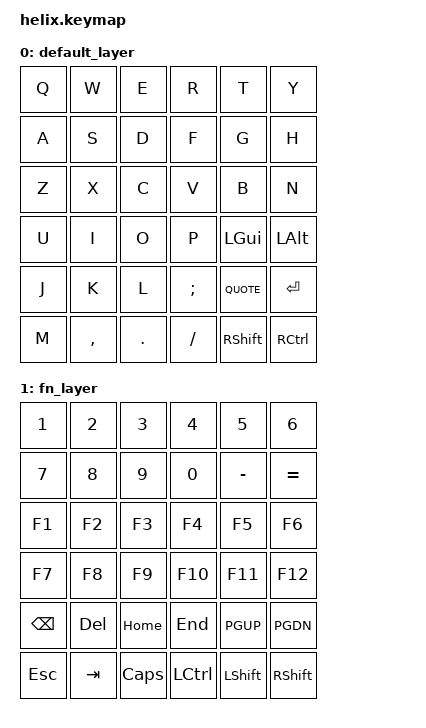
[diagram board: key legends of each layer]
/ {
    keymap {
        compatible = "zmk,keymap";

        default_layer {
            bindings = <
                /* 左手側 (helix_left.overlay の row0-2, col0-5) */
                &kp Q   &kp W   &kp E   &kp R   &kp T   &kp Y
                &kp A   &kp S   &kp D   &kp F   &kp G   &kp H
                &kp Z   &kp X   &kp C   &kp V   &kp B   &kp N

                /* 右手側 (helix_right.overlay の row0-2, col0-5) */
                &kp U   &kp I   &kp O   &kp P   &kp LGUI &kp LALT
                &kp J   &kp K   &kp L   &kp SEMI &kp QUOTE &kp ENTER
                &kp M   &kp COMMA &kp DOT &kp SLASH &kp RSHIFT &kp RCTRL
            >;
        };

        /* 2段目レイヤーの例（オプション） */
        fn_layer {
            bindings = <
                &kp 1   &kp 2   &kp 3   &kp 4   &kp 5   &kp 6
                &kp 7   &kp 8   &kp 9   &kp 0   &kp MINUS &kp EQUAL
                &kp F1  &kp F2  &kp F3  &kp F4  &kp F5  &kp F6

                &kp F7  &kp F8  &kp F9  &kp F10 &kp F11 &kp F12
                &kp BSPC &kp DEL &kp HOME &kp END &kp PGUP &kp PGDN
                &kp ESC  &kp TAB &kp CAPS &kp LCTL &kp LSHIFT &kp RSHIFT
            >;
        };
    };
};
